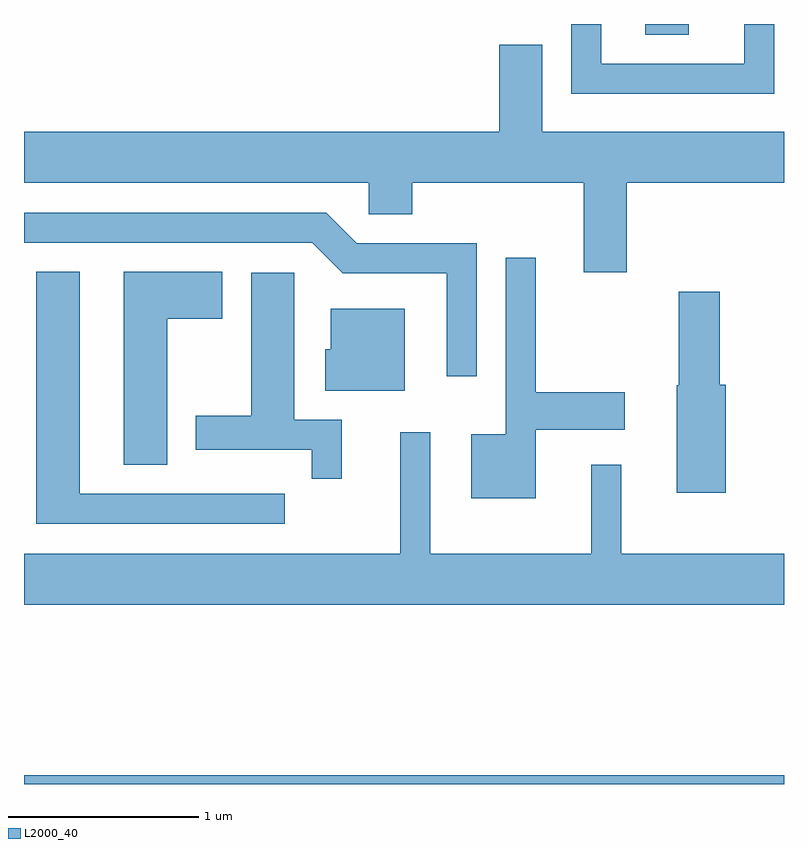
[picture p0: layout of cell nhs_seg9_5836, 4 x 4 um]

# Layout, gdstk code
import gdstk
lib = gdstk.Library(unit=1e-6, precision=1e-09)
def R(c, l, rs):  # rectangles x0, y0, x1, y1
    for r in rs: c.add(gdstk.rectangle(r[:2], r[2:], *l))
def P(c, l, *ps):  # polygons
    for p in ps: c.add(gdstk.Polygon(p, *l))
L2000_40 = (2000, 40)

nhs_seg9_5836 = lib.new_cell('nhs_seg9_5836')
R(nhs_seg9_5836, L2000_40, [(357.611,1986.432,361.611,1986.479), (360.881,1990.376,361.109,1990.432)])
P(nhs_seg9_5836, L2000_40, [(361.559,1990.432),(361.401,1990.432),(361.401,1990.224),(360.649,1990.224),(360.649,1990.432),(360.491,1990.432),(360.491,1990.066),(361.559,1990.066)],
  [(360.784,1989.596),(361.611,1989.596),(361.611,1989.864),(360.339,1989.864),(360.339,1990.324),(360.111,1990.324),(360.111,1989.864),(357.611,1989.864),(357.611,1989.596),(359.426,1989.596),(359.426,1989.431),(359.654,1989.431),(359.654,1989.596),(360.556,1989.596),(360.556,1989.126),(360.784,1989.126)],
  [(359.994,1989.279),(359.362,1989.279),(359.202,1989.439),(357.611,1989.439),(357.611,1989.281),(359.129,1989.281),(359.289,1989.121),(359.836,1989.121),(359.836,1988.578),(359.994,1988.578)],
  [(360.304,1988.296),(360.774,1988.296),(360.774,1988.494),(360.304,1988.494),(360.304,1989.203),(360.146,1989.203),(360.146,1988.274),(359.966,1988.274),(359.966,1987.936),(360.304,1987.936)],
  [(358.364,1988.881),(358.654,1988.881),(358.654,1989.129),(358.136,1989.129),(358.136,1988.111),(358.364,1988.111)],
  [(358.983,1987.959),(357.904,1987.959),(357.904,1989.129),(357.676,1989.129),(357.676,1987.801),(358.983,1987.801)],
  [(359.284,1988.349),(359.034,1988.349),(359.034,1989.124),(358.806,1989.124),(358.806,1988.369),(358.516,1988.369),(358.516,1988.191),(359.126,1988.191),(359.126,1988.038),(359.284,1988.038)],
  [(361.304,1988.534),(361.274,1988.534),(361.274,1989.024),(361.056,1989.024),(361.056,1988.53),(361.046,1988.53),(361.046,1987.966),(361.304,1987.966)],
  [(359.614,1988.934),(359.226,1988.934),(359.226,1988.719),(359.196,1988.719),(359.196,1988.501),(359.614,1988.501)],
  [(361.611,1987.644),(360.754,1987.644),(360.754,1988.113),(360.596,1988.113),(360.596,1987.644),(359.749,1987.644),(359.749,1988.283),(359.591,1988.283),(359.591,1987.644),(357.611,1987.644),(357.611,1987.376),(361.611,1987.376)])

lib.write_gds('nhs_seg9_5836.gds')
